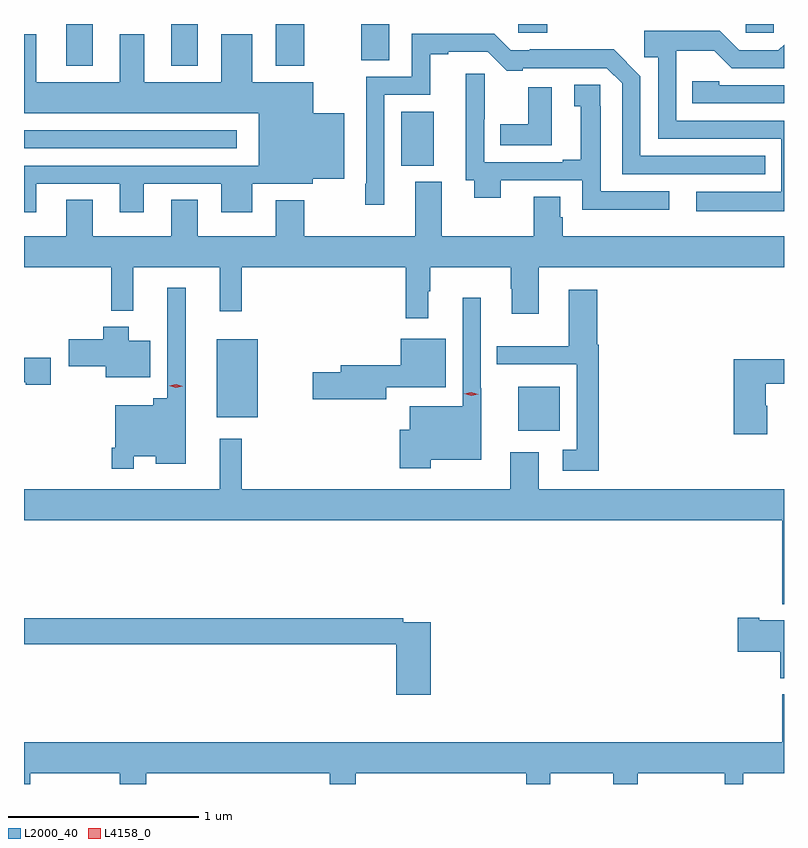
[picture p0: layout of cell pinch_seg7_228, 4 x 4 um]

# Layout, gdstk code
import gdstk
lib = gdstk.Library(unit=1e-6, precision=1e-09)
def R(c, l, rs):  # rectangles x0, y0, x1, y1
    for r in rs: c.add(gdstk.rectangle(r[:2], r[2:], *l))
def P(c, l, *ps):  # polygons
    for p in ps: c.add(gdstk.Polygon(p, *l))
L2000_40 = (2000, 40)
L4158_0 = (4158, 0)

pinch_seg7_228 = lib.new_cell('pinch_seg7_228')
R(pinch_seg7_228, L2000_40, [(845.072,1063.691,845.29,1063.924), (843.485,1063.763,843.7,1064.173), (844.457,1065.086,844.627,1065.37), (842.471,1065.177,843.592,1065.273), (842.693,1065.611,842.833,1065.832), (843.245,1065.611,843.385,1065.832), (843.797,1065.611,843.945,1065.832), (844.246,1065.64,844.393,1065.832), (845.073,1065.786,845.225,1065.832), (846.27,1065.786,846.416,1065.832)])
P(pinch_seg7_228, L2000_40, [(846.471,1065.324),(845.904,1065.324),(845.904,1065.69),(846.105,1065.69),(846.195,1065.6),(846.471,1065.6),(846.471,1065.723),(846.441,1065.693),(846.235,1065.693),(846.132,1065.796),(845.735,1065.796),(845.735,1065.658),(845.808,1065.658),(845.808,1065.228),(846.456,1065.228),(846.456,1064.95),(846.009,1064.95),(846.009,1064.846),(846.471,1064.846)],
  [(844.368,1065.459),(844.61,1065.459),(844.61,1065.672),(844.705,1065.672),(844.705,1065.686),(844.912,1065.686),(845.013,1065.585),(845.095,1065.585),(845.095,1065.6),(845.538,1065.6),(845.619,1065.519),(845.619,1065.042),(846.371,1065.042),(846.371,1065.138),(845.715,1065.138),(845.715,1065.556),(845.574,1065.698),(845.134,1065.698),(845.134,1065.693),(845.034,1065.693),(844.947,1065.78),(844.512,1065.78),(844.512,1065.555),(844.272,1065.555),(844.272,1064.992),(844.267,1064.992),(844.267,1064.88),(844.368,1064.88)],
  [(842.536,1064.991),(842.975,1064.991),(842.975,1064.841),(843.1,1064.841),(843.1,1064.991),(843.509,1064.991),(843.509,1064.841),(843.673,1064.841),(843.673,1064.991),(843.99,1064.991),(843.99,1065.017),(844.156,1065.017),(844.156,1065.361),(843.994,1065.361),(843.994,1065.526),(843.673,1065.526),(843.673,1065.778),(843.509,1065.778),(843.509,1065.526),(843.103,1065.526),(843.103,1065.778),(842.975,1065.778),(842.975,1065.526),(842.536,1065.526),(842.536,1065.778),(842.471,1065.778),(842.471,1065.362),(843.707,1065.362),(843.707,1065.087),(842.471,1065.087),(842.471,1064.841),(842.536,1064.841)],
  [(845.866,1064.952),(845.506,1064.952),(845.506,1065.398),(845.504,1065.398),(845.504,1065.511),(845.366,1065.511),(845.366,1065.398),(845.402,1065.398),(845.402,1065.118),(845.306,1065.118),(845.306,1065.105),(844.893,1065.105),(844.893,1065.33),(844.896,1065.33),(844.896,1065.571),(844.796,1065.571),(844.796,1065.009),(844.841,1065.009),(844.841,1064.918),(844.981,1064.918),(844.981,1065.009),(845.409,1065.009),(845.409,1064.855),(845.866,1064.855)],
  [(846.471,1065.51),(846.129,1065.51),(846.129,1065.531),(845.989,1065.531),(845.989,1065.414),(846.471,1065.414)],
  [(845.248,1065.499),(845.126,1065.499),(845.126,1065.304),(844.978,1065.304),(844.978,1065.195),(845.248,1065.195)],
  [(844.529,1064.716),(843.945,1064.716),(843.945,1064.905),(843.797,1064.905),(843.797,1064.716),(843.385,1064.716),(843.385,1064.906),(843.245,1064.906),(843.245,1064.716),(842.833,1064.716),(842.833,1064.906),(842.693,1064.906),(842.693,1064.716),(842.471,1064.716),(842.471,1064.552),(842.929,1064.552),(842.929,1064.324),(843.047,1064.324),(843.047,1064.552),(843.5,1064.552),(843.5,1064.319),(843.617,1064.319),(843.617,1064.552),(844.48,1064.552),(844.48,1064.283),(844.598,1064.283),(844.598,1064.426),(844.609,1064.426),(844.609,1064.552),(845.032,1064.552),(845.032,1064.438),(845.039,1064.438),(845.039,1064.307),(845.179,1064.307),(845.179,1064.552),(846.471,1064.552),(846.471,1064.716),(845.306,1064.716),(845.306,1064.814),(845.293,1064.814),(845.293,1064.924),(845.153,1064.924),(845.153,1064.716),(844.669,1064.716),(844.669,1065.001),(844.529,1065.001)],
  [(843.048,1063.556),(843.164,1063.556),(843.164,1063.517),(843.322,1063.517),(843.322,1064.443),(843.225,1064.443),(843.225,1063.861),(843.152,1063.861),(843.152,1063.825),(842.952,1063.825),(842.952,1063.603),(842.932,1063.603),(842.932,1063.491),(843.048,1063.491)],
  [(845.495,1064.143),(845.489,1064.143),(845.489,1064.434),(845.339,1064.434),(845.339,1064.137),(844.96,1064.137),(844.96,1064.04),(845.379,1064.04),(845.379,1063.591),(845.307,1063.591),(845.307,1063.482),(845.495,1063.482)],
  [(844.612,1063.538),(844.877,1063.538),(844.877,1063.915),(844.875,1063.915),(844.875,1064.392),(844.779,1064.392),(844.779,1063.819),(844.502,1063.819),(844.502,1063.696),(844.448,1063.696),(844.448,1063.493),(844.612,1063.493)],
  [(843.136,1064.164),(843.022,1064.164),(843.022,1064.239),(842.888,1064.239),(842.888,1064.172),(842.706,1064.172),(842.706,1064.03),(842.9,1064.03),(842.9,1063.973),(843.136,1063.973)],
  [(844.378,1063.92),(844.69,1063.92),(844.69,1064.176),(844.454,1064.176),(844.454,1064.036),(844.139,1064.036),(844.139,1064),(843.99,1064),(843.99,1063.858),(844.378,1063.858)],
  [(842.611,1064.076),(842.471,1064.076),(842.471,1063.946),(842.481,1063.946),(842.481,1063.934),(842.611,1063.934)],
  [(846.384,1063.824),(846.376,1063.824),(846.376,1063.939),(846.471,1063.939),(846.471,1064.068),(846.206,1064.068),(846.206,1063.674),(846.384,1063.674)],
  [(846.471,1063.384),(845.179,1063.384),(845.179,1063.579),(845.03,1063.579),(845.03,1063.384),(843.617,1063.384),(843.617,1063.648),(843.5,1063.648),(843.5,1063.384),(842.471,1063.384),(842.471,1063.22),(846.461,1063.22),(846.461,1062.779),(846.471,1062.779)],
  [(846.471,1062.694),(846.34,1062.694),(846.34,1062.707),(846.228,1062.707),(846.228,1062.529),(846.452,1062.529),(846.452,1062.389),(846.471,1062.389)],
  [(844.613,1062.684),(844.466,1062.684),(844.466,1062.704),(842.471,1062.704),(842.471,1062.568),(844.43,1062.568),(844.43,1062.303),(844.613,1062.303)],
  [(842.503,1061.888),(842.975,1061.888),(842.975,1061.832),(843.114,1061.832),(843.114,1061.888),(844.08,1061.888),(844.08,1061.832),(844.218,1061.832),(844.218,1061.888),(845.114,1061.888),(845.114,1061.832),(845.241,1061.832),(845.241,1061.888),(845.572,1061.888),(845.572,1061.832),(845.701,1061.832),(845.701,1061.888),(846.158,1061.888),(846.158,1061.832),(846.257,1061.832),(846.257,1061.888),(846.471,1061.888),(846.471,1062.304),(846.461,1062.304),(846.461,1062.052),(842.471,1062.052),(842.471,1061.832),(842.503,1061.832)])
P(pinch_seg7_228, L4158_0, [(844.824,1063.875),(844.789,1063.887),(844.789,1063.887),(844.789,1063.887),(844.825,1063.895),(844.861,1063.883),(844.861,1063.883),(844.861,1063.883)],
  [(843.27,1063.917),(843.235,1063.928),(843.235,1063.929),(843.235,1063.929),(843.272,1063.937),(843.307,1063.925),(843.307,1063.925),(843.307,1063.925)])

lib.write_gds('pinch_seg7_228.gds')
